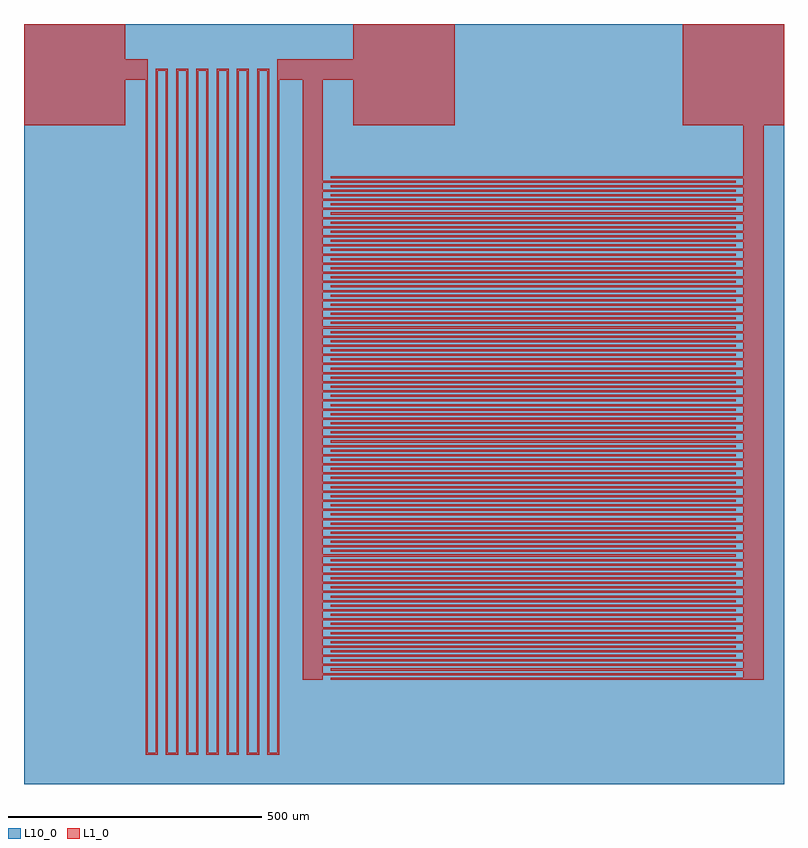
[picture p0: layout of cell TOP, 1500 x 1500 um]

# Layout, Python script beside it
"""Example layout for the 6.2540 inverter prelab: back-gated MoS2 transistors and Au resistors.

Everything on layer 1 becomes metal (Ti 10 nm / Au 15 nm on the MoS2 film, patterned by lift-off).
Layer 10 is for outlines and notes only and is not fabricated. All lengths are in micrometres.

This script draws
  EXAMPLES   one finger (interdigitated) FET, one circular (Corbino) FET and one meander resistor
  FRAME      an empty inverter frame (1.5 mm x 1.5 mm) with its VDD, OUT and GND ports
writes them to inverter_pset_example.gds, and prints W, L, W/L and R of the example devices.

To make your design: copy this file and draw your resistor and FET inside a frame with the functions
below (resistor from VDD to OUT, FET from OUT to GND), following the design rules listed under
"design rules". We check every design against these rules after you submit.

Needs gdspy 1.6 (pip install gdspy, or conda install -c conda-forge gdspy) and numpy.
"""

import os
import numpy as np
import gdspy

METAL, NOTE = 1, 10      # layer 1 is fabricated, layer 10 is not
RSH_AU = 4.0             # ohm per square of the Ti 10 nm / Au 15 nm film (measured on chip A1)

# design rules
FRAME = 1500.0           # each inverter, ports included, fits in a 1.5 mm x 1.5 mm frame
PORT = 200.0             # VDD, OUT, GND: 200 um squares along the top edge, also the probe pads
MIN_L = 5.0              # channel length (gap between source and drain metal) of 5 um or more
MIN_SPACE = 10.0         # any other gap between metal of 10 um or more
MIN_WIDTH = 4.0          # metal lines 4 um wide or more
J_MAX = 1e6              # A/cm^2: keep the current density in the Au below about 1 MA/cm^2
T_AU = 15e-7             # cm, thickness of the Au (15 nm)
VDD = 10.0               # V


# ---------- OUR CHOSEN PARAMETERS ----------
# Physical positioning, relative to bottom left of 1.5mm square
R_ORIGIN = (240, 1410)  
T_ORIGIN = (550, 1200)

# Resistor
R_W       = 4    # um
R_SPACE   = 16   # um
R_LEG_LEN = 1350 # um = 1.2mm
R_NUM_LEG = 14   # count

# Transistor
T_L          = 5     # um, channel length (>= MIN_L)
T_N_CHANNELS = 110   # finger_fet is T_N_CHANNELS + 1 fingers
T_OVERLAP    = 800   # um
T_WF         = 4     # um, finger width (>= MIN_WIDTH)
T_TIP        = 15    # um 


def rect(x0, y0, x1, y1, layer=METAL):
    return gdspy.Rectangle((x0, y0), (x1, y1), layer=layer)


def merge(polys, layer=METAL):
    """Union of a list of shapes, so touching rectangles become one polygon."""
    return gdspy.boolean(polys, None, "or", layer=layer)


def note(cell, s, x, y, size=30):
    """Text on the NOTE layer (not fabricated)."""
    cell.add(gdspy.Text(s, size, (x, y), layer=NOTE))


def max_current(w):
    """Largest current (A) a line of width w (um) should carry at J_MAX."""
    return J_MAX * w * 1e-4 * T_AU


# ---------- devices ----------

def finger_fet(cell, x0, y0, L=10.0, n_ch=20, overlap=400.0, wf=6.0, tip=30.0, bus=40.0):
    """Interdigitated FET with its lower-left corner at (x0, y0).

    The top bus is one electrode (drain), the bottom bus the other (source). Fingers of width wf
    alternate between the two buses, a distance L apart, and face each other over `overlap`.
    W = n_ch * overlap. The gap between a finger tip and the opposite bus is `tip`.
    Returns W, L and the width and height of the device.
    """
    n_f = n_ch + 1
    width = n_f * wf + n_ch * L
    y_lb = y0 + bus                       # top edge of the bottom bus
    y_ub = y_lb + tip + overlap + tip     # bottom edge of the top bus
    top = [rect(x0, y_ub, x0 + width, y_ub + bus)]
    bottom = [rect(x0, y0, x0 + width, y_lb)]
    for k in range(n_f):
        fx = x0 + k * (wf + L)
        if k % 2 == 0:
            top.append(rect(fx, y_lb + tip, fx + wf, y_ub))
        else:
            bottom.append(rect(fx, y_lb, fx + wf, y_ub - tip))
    cell.add([merge(top), merge(bottom)])
    return n_ch * overlap, L, width, y_ub + bus - y0


def ring_fet(cell, xc, yc, r_in=150.0, L=10.0, ring=60.0, lead=20.0, slot_gap=30.0, lead_len=60.0):
    """Circular (Corbino) FET centred at (xc, yc).

    Inner disk of radius r_in, channel = annulus of width L, outer electrode = ring of width `ring`.
    With one metal layer the disk can only be wired out through a slot in the ring: its lead
    (width `lead`) leaves upward, slot_gap away from the ring on each side. The ring has a lead
    downward. W/L = 2 pi / ln(r_out / r_in) with r_out = r_in + L; the slot changes it by a few %.
    Returns W/L.
    """
    r_out = r_in + L
    top = r_out + ring
    disk = gdspy.Round((xc, yc), r_in, tolerance=0.1, layer=METAL)
    inner = merge([disk, rect(xc - lead / 2, yc, xc + lead / 2, yc + top + lead_len)])
    outer = gdspy.Round((xc, yc), top, inner_radius=r_out, tolerance=0.1, layer=METAL)
    slot = rect(xc - lead / 2 - slot_gap, yc, xc + lead / 2 + slot_gap, yc + top + 1)
    outer = gdspy.boolean(outer, slot, "not", layer=METAL)
    outer = merge([outer, rect(xc - 20, yc - top - lead_len, xc + 20, yc - top + 1)])
    cell.add([inner, outer])
    return 2 * np.pi / np.log(r_out / r_in)


def meander(cell, x0, y0, w=4.0, space=16.0, leg=500.0, n=40, lead=50.0, lead_w=20.0):
    """Au meander resistor: n vertical legs of line width w, `space` apart, `leg` long (between the
    centre lines of the turns). The first leg starts at (x0, y0); a lead of width lead_w leaves to the
    left from the start and to the right from the end. A 90-degree corner counts as ~0.56 square.
    Returns the number of squares and the width and height of the meander.
    """
    pitch = w + space
    xs = x0 + w / 2 + np.arange(n) * pitch
    polys = [rect(x - w / 2, y0 - w / 2, x + w / 2, y0 + leg + w / 2) for x in xs]
    for k in range(n - 1):
        y = y0 + leg if k % 2 == 0 else y0
        polys.append(rect(xs[k] - w / 2, y - w / 2, xs[k + 1] + w / 2, y + w / 2))
    y_end = y0 + leg if n % 2 == 1 else y0
    polys.append(rect(x0 - lead, y0 - lead_w / 2, x0 + w, y0 + lead_w / 2))
    polys.append(rect(xs[-1] - w / 2, y_end - lead_w / 2, xs[-1] + w / 2 + lead, y_end + lead_w / 2))
    cell.add(merge(polys))
    squares = (n * leg + (n - 1) * pitch) / w - 0.88 * (n - 1)
    return squares, n * pitch - space, leg + w


def inverter_frame(cell, size=FRAME):
    """Empty inverter frame with its lower-left corner at (0, 0).

    The outline is on the NOTE layer. The three ports are metal squares along the top edge, which are
    also the probe pads: VDD at the top-left corner, OUT in the middle, GND at the top-right corner.
    Everything below them (y < size - PORT - 10) is free for the resistor and the transistor.
    There is no gate port: the gate is the silicon substrate, shared by every device on the chip.
    """
    m, y0 = size / 2, size - PORT
    cell.add(rect(0, 0, size, size, NOTE))
    cell.add(rect(0, y0, PORT, size))                                   # VDD
    cell.add(rect(m - PORT / 2, y0, m + PORT / 2, size))                # OUT
    cell.add(rect(size - PORT, y0, size, size))                         # GND
    for s, x in (("VDD", 10), ("OUT", m - PORT / 2 + 10), ("GND", size - PORT + 10)):
        note(cell, s, x, y0 - 40)


# ---------- example ----------

def main():
    lib = gdspy.GdsLibrary(unit=1e-6, precision=1e-9)

    frame = lib.new_cell("FRAME")
    inverter_frame(frame)

    # -------- RESISTOR (Vdd -> V_out) --------
    rcell = lib.new_cell("RESISTOR")
    # Resistance of meander resistor is R = N_sq * R_sqAu
    # Placement within cell
    sq, w_m, h_m = meander(rcell, 0, 0, R_W, R_SPACE, R_LEG_LEN, R_NUM_LEG, lead=150, lead_w=40)      # from the VDD port to the OUT node
    R_res = sq * RSH_AU
    print(f"Meander resistor resistance: sq*RSH_AU={R_res:.1f} Ohm")

    # -------- TRANSISTOR (V_out -> GND) --------
    tcell = lib.new_cell("TRANSISTOR")
    W_T, L_T, w_f, h_f = finger_fet(tcell, 0, 0, T_L, T_N_CHANNELS, T_OVERLAP, T_WF, T_TIP)  # from the OUT node to the GND port

    RSQ_MOS2 = {
        30: (10e6, 50e6),
        20: (20e6, 100e6),
        0: (1e9, 6e9),
    }  # ohm/sq: (low, hi)

    def r_fet(v_gate, W, L):
        lo, hi = RSQ_MOS2[v_gate]
        return lo * L / W, hi * L / W

    R_on_lo, R_on_hi = r_fet(30, W_T, L_T)
    print(
        f"FET: W/L = {W_T / L_T:.0f}, R_on = {R_on_lo / 1e3:.1f} to {R_on_hi / 1e3:.1f} kOhm"
    )

    # -------- CHECKS --------
    VDD = 10.0
    assert T_L >= MIN_L, f"channel length {T_L} um < {MIN_L} um"
    assert min(R_W, T_WF) >= MIN_WIDTH, f"line width under {MIN_WIDTH} um"
    assert R_SPACE >= MIN_SPACE and T_TIP >= MIN_SPACE, "gap under 10 um"

    v_low = R_on_hi / (R_on_hi + R_res)  # V_out / VDD at Vin = +30 V
    print(f"Voltage at low = {v_low:.2f} * VDD")
    assert v_low <= 0.25, f"V_out LOW = {v_low:.2f} VDD > 0.25 VDD" # LOW state

    I_worst = VDD / (R_on_lo + R_res)  # highest current: FET at its lowest R
    print(f"Max current: {I_worst*1e3:.3f}mA")
    assert I_worst < max_current(R_W), f"{I_worst * 1e3:.2f} mA > {max_current(R_W) * 1e3:.2f} mA in the {R_W} um meander"

    top = lib.new_cell("TOP")
    frame.add(gdspy.CellReference(rcell, origin=R_ORIGIN, x_reflection=True))  # flip
    # top is DRAIN, bottom is SOURCE; so rotating -90 puts SRC on left and DRAIN
    # on right
    frame.add(gdspy.CellReference(tcell, T_ORIGIN, rotation = -90))
    
    # Wires
    wires = lib.new_cell("WIRES")
    wire_width = 40
    wires.add(rect(550, 700, 550 + wire_width, 1400)) # SRC up
    wires.add(rect(550, 1390, 750, 1390 + wire_width)) # SRC right to OUT
    wires.add(rect(1460-wire_width, 1200, 1460, 1390+wire_width))
    top.add(gdspy.CellReference(wires, (0, 0)))
    
    top.add(gdspy.CellReference(frame, (0, 0)))

    path = os.path.splitext(os.path.abspath(__file__))[0] + ".gds"
    lib.write_gds(path)
    print("wrote", path)


if __name__ == "__main__":
    main()
